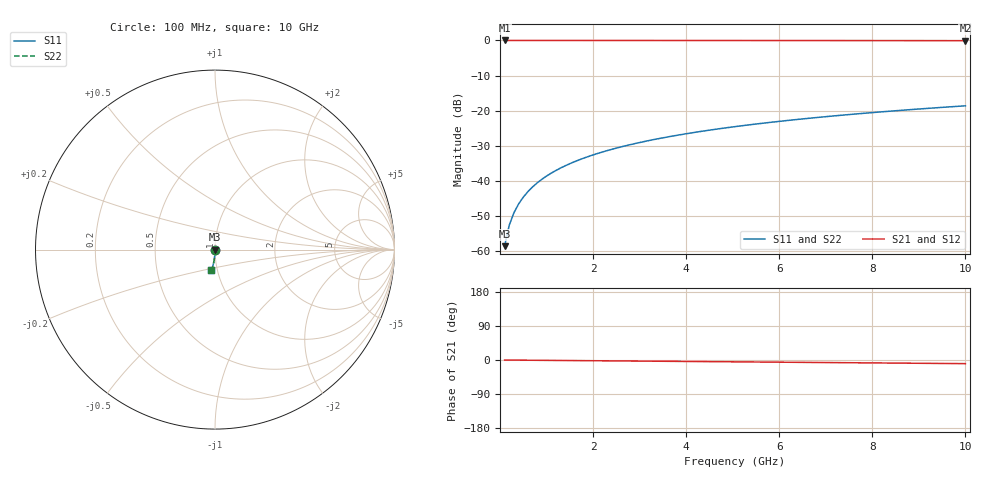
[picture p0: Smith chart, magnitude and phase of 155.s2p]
# Hz S RI R 50.00
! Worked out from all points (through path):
!   100 points, 100 MHz to 10 GHz, reference 50 ohm
!   highest |S21| = 0.00 dB at 100 MHz (marker M1); lowest = -0.1 dB at 10 GHz (marker M2)
!   group delay of S21, straight-line fit = 2.67 ps
!   lowest |S11| = -58.6 dB at 100 MHz (marker M3), VSWR 1.00, Z = 50 - j0.117 ohm
!   |S11| at or under -10 dB: start of sweep to end of sweep
!   |S22| runs from -58.6 to -18.6 dB; largest |S21 - S12| = 0
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1e8  0.000117 -0.00117  0.9999 -0.00167  0.9999 -0.00167  0.000117 -0.00117
2e8  0.00011 -0.00234  0.9999 -0.00333  0.9999 -0.00333  0.00011 -0.00234
3e8  9.97e-05 -0.00351  0.9999 -0.005  0.9999 -0.005  9.97e-05 -0.00351
4e8  8.51e-05 -0.00469  0.9998 -0.00666  0.9998 -0.00666  8.51e-05 -0.00469
5e8  6.66e-05 -0.00586  0.9998 -0.00833  0.9998 -0.00833  6.66e-05 -0.00586
6e8  4.41e-05 -0.00703  0.9998 -0.00999  0.9998 -0.00999  4.41e-05 -0.00703
7e8  1.77e-05 -0.0082  0.9998 -0.0117  0.9998 -0.0117  1.77e-05 -0.0082
8e8  -1.26e-05 -0.00937  0.9997 -0.0133  0.9997 -0.0133  -1.26e-05 -0.00937
9e8  -4.69e-05 -0.0105  0.9997 -0.015  0.9997 -0.015  -4.69e-05 -0.0105
1.1e9  -0.000127 -0.0129  0.9996 -0.0183  0.9996 -0.0183  -0.000127 -0.0129
1.4e9  -0.000277 -0.0164  0.9994 -0.0233  0.9994 -0.0233  -0.000277 -0.0164
1.8e9  -0.000532 -0.0211  0.9992 -0.03  0.9992 -0.03  -0.000532 -0.0211
2.1e9  -0.000764 -0.0246  0.9989 -0.035  0.9989 -0.035  -0.000764 -0.0246
2.5e9  -0.00113 -0.0293  0.9985 -0.0417  0.9985 -0.0417  -0.00113 -0.0293
2.9e9  -0.00156 -0.034  0.9981 -0.0483  0.9981 -0.0483  -0.00156 -0.034
3.4e9  -0.00218 -0.0398  0.9974 -0.0567  0.9974 -0.0567  -0.00218 -0.0398
4.2e9  -0.00338 -0.0492  0.9961 -0.07  0.9961 -0.07  -0.00338 -0.0492
5.1e9  -0.00503 -0.0597  0.9944 -0.0849  0.9944 -0.0849  -0.00503 -0.0597
5.9e9  -0.00677 -0.0689  0.9925 -0.0982  0.9925 -0.0982  -0.00677 -0.0689
6.7e9  -0.00875 -0.0782  0.9904 -0.1114  0.9904 -0.1114  -0.00875 -0.0782
8.4e9  -0.0138 -0.0976  0.9851 -0.1394  0.9851 -0.1394  -0.0138 -0.0976
1e10  -0.0196 -0.1156  0.9789 -0.1655  0.9789 -0.1655  -0.0196 -0.1156
